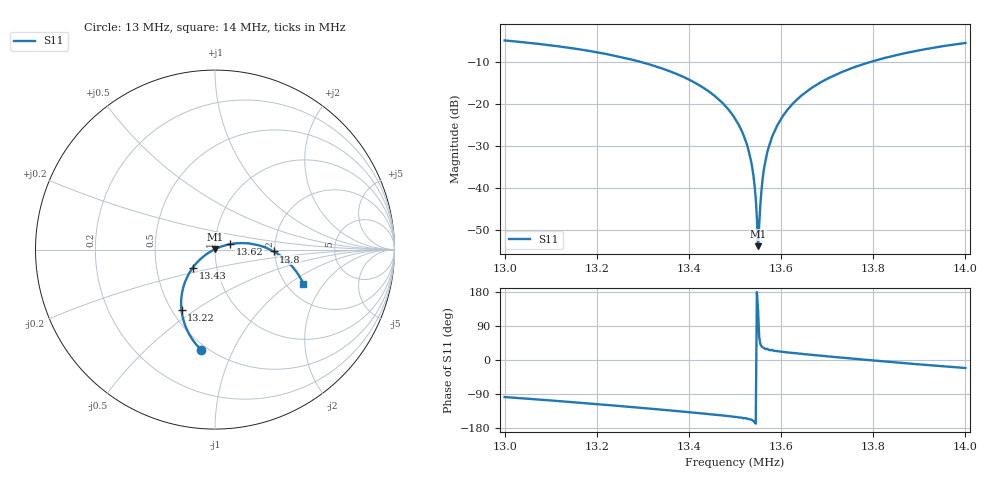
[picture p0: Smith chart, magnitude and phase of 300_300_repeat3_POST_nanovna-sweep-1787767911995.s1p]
! S11 from 300_300_repeat3_POST_nanovna-sweep-1787767911995.csv, converted by the rf-network-modeller history importer
# HZ S RI R 50
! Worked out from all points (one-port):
!   401 points, 13 MHz to 14 MHz, reference 50 ohm
!   lowest |S11| = -53.8 dB at 13.55 MHz (marker M1), VSWR 1.00, Z = 49.9 + j0.149 ohm
!   |S11| at or under -10 dB: 13.29 MHz to 13.8 MHz (502.5 kHz wide, 3.71 % of centre)
!   S11 on the Smith chart (normalised r, x): 13 MHz: 0.46, -0.76; 13.22 MHz: 0.56, -0.44; 13.43 MHz: 0.77, -0.16; 13.62 MHz: 1.18, +0.07; 13.8 MHz: 1.97, -0.04; 14 MHz: 2.45, -1.29
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1.3e7  -0.076 -0.5601
1.3125e7  -0.1556 -0.4483
1.3225e7  -0.1866 -0.3378
1.325e7  -0.1886 -0.3081
1.3375e7  -0.158 -0.1587
1.34275e7  -0.1239 -0.1009
1.347e7  -0.0876 -0.0593
1.35e7  -0.0578 -0.0332
1.352e7  -0.036 -0.018
1.35325e7  -0.0219 -0.00968
1.354e7  -0.0133 -0.00448
1.35425e7  -0.0102 -0.00296
1.3545e7  -0.00736 -0.00155
1.35475e7  -0.00442 5.81e-05
1.355e7  -0.00138 0.0015
1.35525e7  0.00182 0.00321
1.3555e7  0.00469 0.00421
1.356e7  0.0107 0.00707
1.3565e7  0.017 0.0097
1.3575e7  0.0293 0.0143
1.35925e7  0.0518 0.0223
1.36175e7  0.0842 0.03
1.3625e7  0.0946 0.0319
1.36775e7  0.165 0.0359
1.375e7  0.2596 0.0189
1.3805e7  0.3266 -0.00998
1.3875e7  0.4 -0.0633
1.4e7  0.4921 -0.1898
